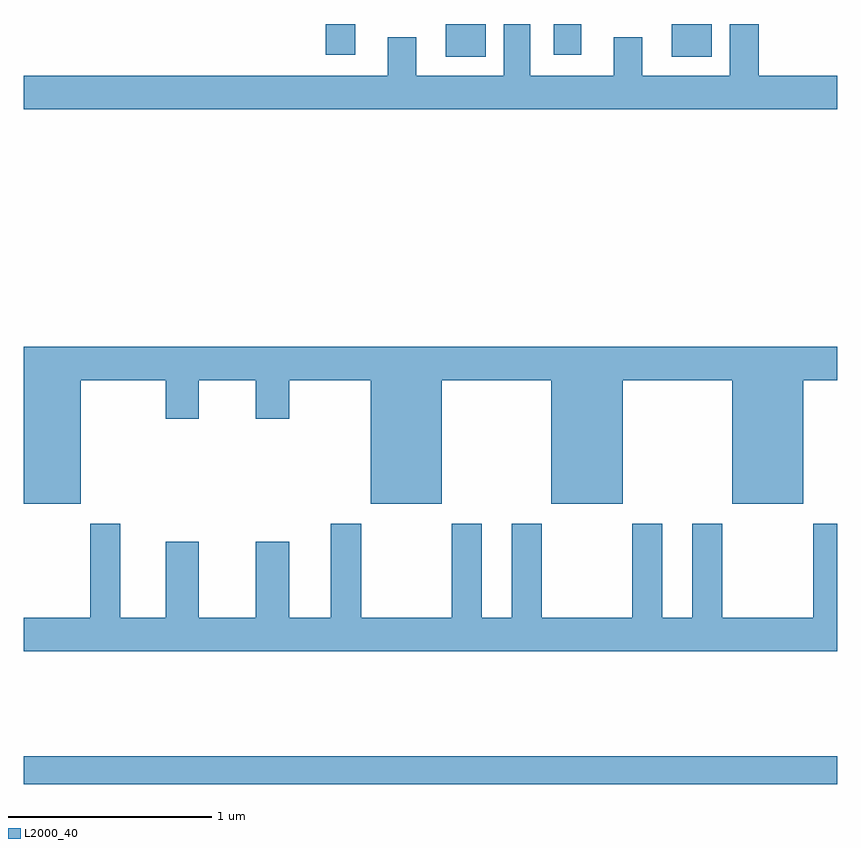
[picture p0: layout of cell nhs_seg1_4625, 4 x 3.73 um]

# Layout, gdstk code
import gdstk
lib = gdstk.Library(unit=1e-6, precision=1e-09)
def R(c, l, rs):  # rectangles x0, y0, x1, y1
    for r in rs: c.add(gdstk.rectangle(r[:2], r[2:], *l))
def P(c, l, *ps):  # polygons
    for p in ps: c.add(gdstk.Polygon(p, *l))
L2000_40 = (2000, 40)

nhs_seg1_4625 = lib.new_cell('nhs_seg1_4625')
R(nhs_seg1_4625, L2000_40, [(363,500.464,367,500.6), (365.075,504.038,365.271,504.199), (366.185,504.038,366.381,504.199), (364.484,504.048,364.63,504.199), (365.606,504.048,365.74,504.199)])
P(nhs_seg1_4625, L2000_40, [(367,503.944),(366.614,503.944),(366.614,504.199),(366.47,504.199),(366.47,503.944),(366.04,503.944),(366.04,504.134),(365.9,504.134),(365.9,503.944),(365.491,503.944),(365.491,504.199),(365.36,504.199),(365.36,503.944),(364.93,503.944),(364.93,504.134),(364.79,504.134),(364.79,503.944),(363,503.944),(363,503.78),(367,503.78)],
  [(363.28,502.448),(363.698,502.448),(363.698,502.26),(363.862,502.26),(363.862,502.448),(364.142,502.448),(364.142,502.26),(364.306,502.26),(364.306,502.448),(364.706,502.448),(364.706,501.842),(365.056,501.842),(365.056,502.448),(365.594,502.448),(365.594,501.842),(365.944,501.842),(365.944,502.448),(366.482,502.448),(366.482,501.842),(366.832,501.842),(366.832,502.448),(367,502.448),(367,502.612),(363,502.612),(363,501.842),(363.28,501.842)],
  [(367,501.742),(366.88,501.742),(366.88,501.28),(366.435,501.28),(366.435,501.742),(366.287,501.742),(366.287,501.28),(366.139,501.28),(366.139,501.742),(365.992,501.742),(365.992,501.28),(365.547,501.28),(365.547,501.742),(365.399,501.742),(365.399,501.28),(365.251,501.28),(365.251,501.742),(365.104,501.742),(365.104,501.28),(364.659,501.28),(364.659,501.742),(364.511,501.742),(364.511,501.28),(364.306,501.28),(364.306,501.655),(364.142,501.655),(364.142,501.28),(363.862,501.28),(363.862,501.655),(363.698,501.655),(363.698,501.28),(363.475,501.28),(363.475,501.742),(363.328,501.742),(363.328,501.28),(363,501.28),(363,501.116),(367,501.116)])

lib.write_gds('nhs_seg1_4625.gds')
